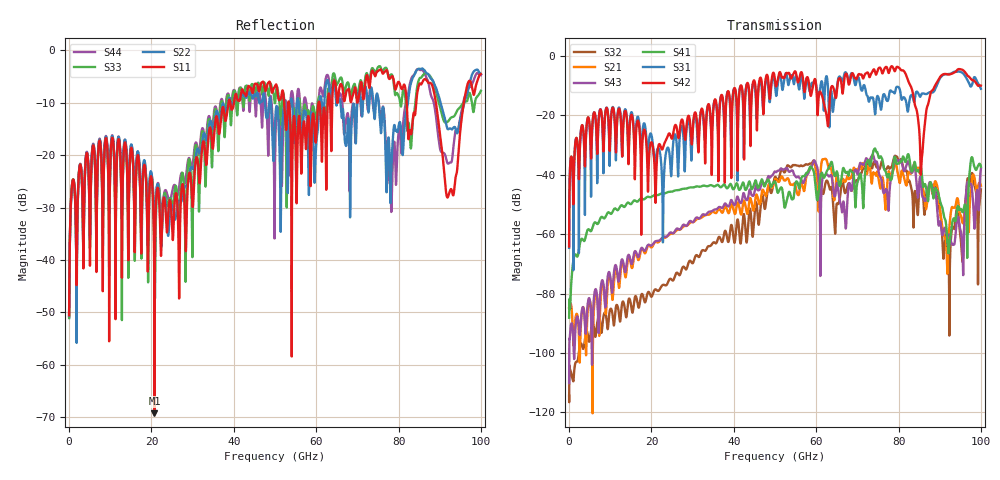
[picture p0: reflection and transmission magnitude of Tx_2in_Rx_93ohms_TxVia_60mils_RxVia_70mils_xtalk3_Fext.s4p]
! Info: Touchstone file created by Circ.  Input file=Tx_2in_Rx_93ohms_TxVia_60mils_RxVia_70mils.circ
# Hz S RI R 50
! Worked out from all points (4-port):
!   10000 points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, 10 MHz to 100 GHz, reference 50 ohm
!   strongest paths, dB at 10 MHz, 25.01 GHz, 50.01 GHz, 75.01 GHz, 100 GHz:
!     S42: -64.2, -27.8, -8.2, -4.6, -10.0
!     S31: -64.6, -35.0, -10.0, -13.6, -11.1
!     S41: -88.1, -45.7, -42.3, -33.3, -37.3
!     S43: -110.1, -59.6, -38.9, -37.6, -38.0
!     S21: -85.0, -59.8, -41.5, -40.0, -43.7
!     S32: -114.4, -75.5, -40.7, -37.8, -44.9
!   lowest |S11| = -69.3 dB at 20.74 GHz (marker M1), VSWR 1.00, Z = 50 + j0.0323 ohm
!   |S11| at or under -10 dB: start of sweep to 38.69 GHz; 53.42 GHz to 60.56 GHz (7.146 GHz wide, 12.5 % of centre); 89.08 GHz to 95.87 GHz (6.788 GHz wide, 7.34 % of centre)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
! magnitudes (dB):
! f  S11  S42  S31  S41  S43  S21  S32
! 10 MHz  -50.5  -64.2  -64.6  -88.1  -110.1  -85.0  -114.4
! 7.59 GHz  -17.7  -18.0  -17.9  -54.7  -79.5  -83.7  -90.1
! 20.74 GHz  -69.3  -36.9  -35.4  -46.9  -62.7  -62.8  -78.8
! 53.22 GHz  -10.0  -5.8  -9.8  -46.6  -38.7  -41.3  -36.9
! 85.61 GHz  -6.4  -34.9  -12.8  -39.1  -45.0  -41.6  -43.4
! 92.24 GHz  -27.4  -6.3  -6.1  -65.1  -60.2  -59.9  -72.8
! 100 GHz  -4.5  -10.0  -11.1  -37.3  -38.0  -43.7  -44.9
